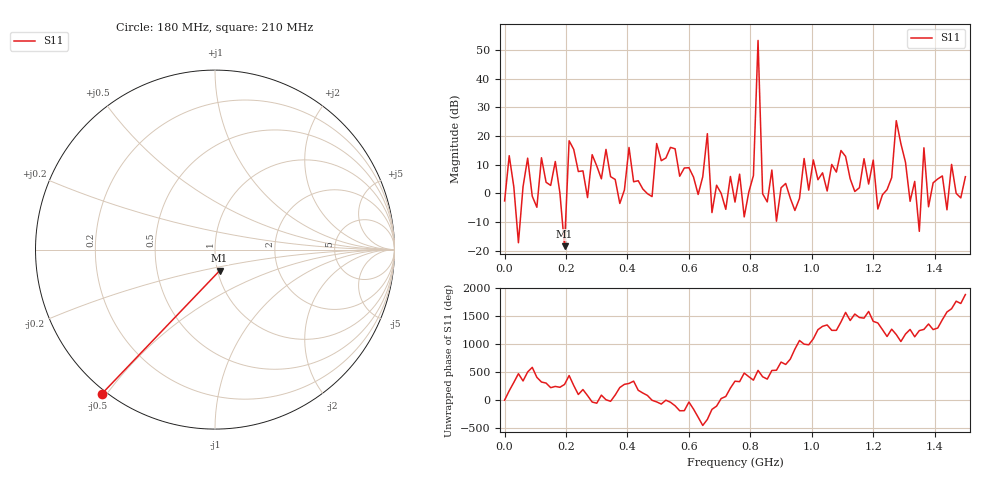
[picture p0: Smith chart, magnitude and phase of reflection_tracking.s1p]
! Created with skrf 1.8.0 (http://scikit-rf.org).
# Hz S RI R 50.0
!freq ReS11 ImS11
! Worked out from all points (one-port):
!   101 points, 50 kHz to 1.5 GHz, reference 50 ohm
!   lowest |S11| = -18.4 dB at 195 MHz (marker M1), VSWR 1.27, Z = 51.1 - j12.2 ohm
!   |S11| at or under -10 dB: 39.52 MHz to 50.56 MHz (11.04 MHz wide, 24.5 % of centre); 188.3 MHz to 198.5 MHz (10.2 MHz wide, 5.27 % of centre); 1.347243 GHz to 1.351656 GHz (4.413 MHz wide, 0.327 % of centre)
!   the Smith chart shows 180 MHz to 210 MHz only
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50000  0.7413 0.0319
1.50495e7  -4.484 0.7835
1.950435e8  0.0255 -0.1178
2.10043e8  1.17 8.203
2.250425e8  -0.6242 -5.831
2.40042e8  -0.5484 2.348
3.30039e8  5.774 0.9782
3.750375e8  -0.4498 -0.4967
4.950335e8  6.498 -3.569
5.550315e8  -0.8702 -5.94
5.70031e8  -1.984 0.233
6.450285e8  0.0321 -1.95
6.60028e8  10.44 3.52
6.750275e8  -0.4416 -0.1424
7.50025e8  0.6673 -0.236
8.10023e8  2.053 -0.0232
8.250225e8  -462 49.21
8.40022e8  0.4967 0.8509
9.450185e8  -0.4915 -0.1184
1.125012e9  1.723 -0.511
1.260008e9  -1.864 -0.2721
1.275008e9  -0.8496 18.56
1.290007e9  6.273 -3.906
1.305006e9  -0.7075 3.427
1.320006e9  -0.7281 -0.0481
1.365004e9  -6.225 -0.5046
1.380004e9  0.1153 -0.5747
1.5e9  0.121 1.956
